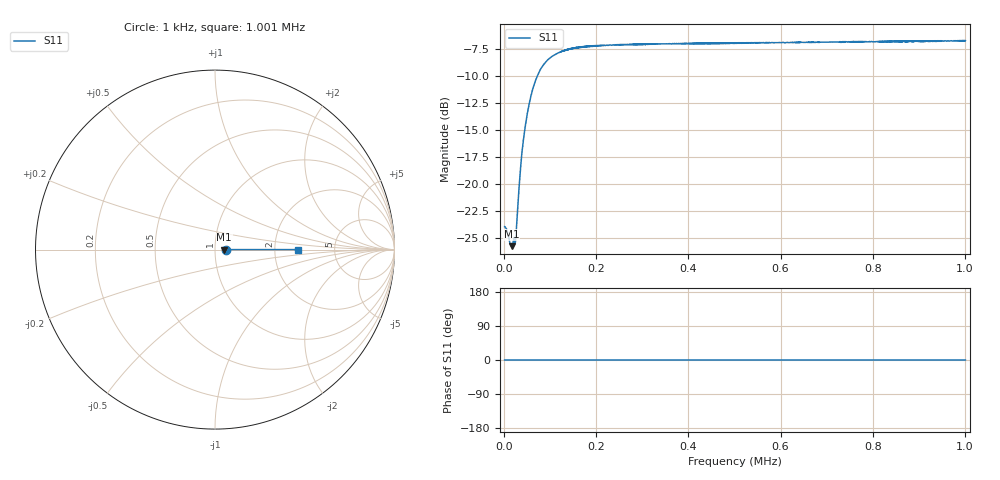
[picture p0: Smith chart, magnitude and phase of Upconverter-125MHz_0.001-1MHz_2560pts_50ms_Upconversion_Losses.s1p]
! ListType=Lin
! Comment=Upconverter_125MHz_0.001-1MHz_2560pts_50ms
# MHz S DB R 50
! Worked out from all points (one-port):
!   2560 points, 1 kHz to 1.001 MHz, reference 50 ohm
!   lowest |S11| = -25.8 dB at 16.24 kHz (marker M1), VSWR 1.11, Z = 55.4 + j0 ohm
!   |S11| at or under -10 dB: start of sweep to 72.04 kHz
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0.001  -23.97 0.0
0.0056893  -24.26 0.0
0.0127233  -25.50 0.0
0.0162403  -25.79 0.0
0.0209297  -25.07 0.0
0.0224928  -25.09 0.0
0.0244467  -25.43 0.0
0.0275729  -23.45 0.0
0.0349977  -18.89 0.0
0.0377331  -17.48 0.0
0.0408593  -16.23 0.0
0.0455487  -14.73 0.0
0.0498472  -13.63 0.0
0.0549273  -12.46 0.0
0.0600074  -11.55 0.0
0.0654783  -10.75 0.0
0.0717308  -10.03 0.0
0.0850172  -8.98 0.0
0.1022114  -8.23 0.0
0.1260488  -7.71 0.0
0.1694252  -7.31 0.0
0.2510977  -7.09 0.0
0.3761465  -7.01 0.0
0.5011954  -6.97 0.0
0.6262442  -6.87 0.0
0.7512931  -6.84 0.0
0.8763419  -6.75 0.0
1.001  -6.72 0.0
